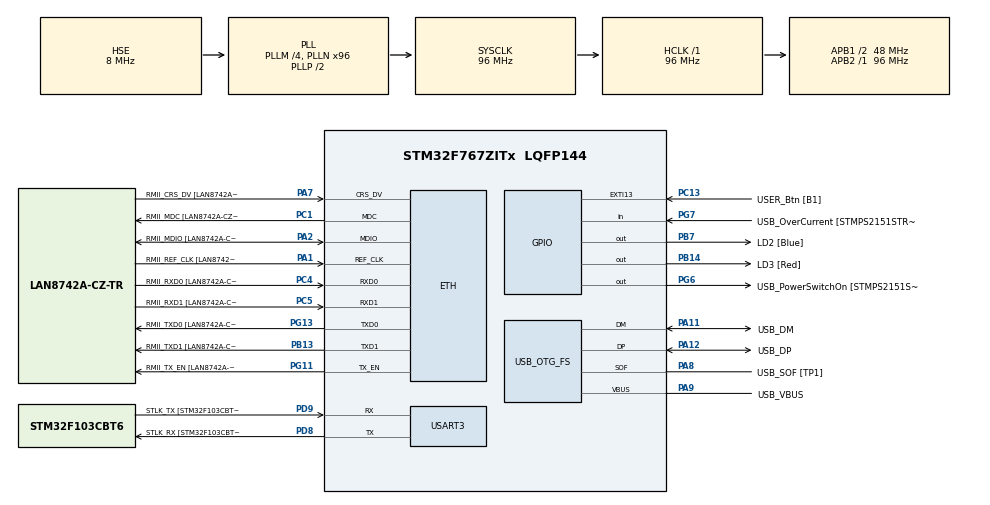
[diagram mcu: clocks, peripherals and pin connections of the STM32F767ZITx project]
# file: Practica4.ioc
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ETH.MediaInterface=ETH_MEDIA_INTERFACE_RMII
ETH.PHY_Name=LAN8742A_PHY_ADDRESS
ETH.PHY_Value=0
ETH.PhyAddress=0
Mcu.Family=STM32F7
Mcu.Name=STM32F767ZITx
Mcu.Package=LQFP144
NVIC.PriorityGroup=NVIC_PRIORITYGROUP_4
PA1.GPIO_Label=RMII_REF_CLK [LAN8742A-CZ-TR_REFCLK0]
PA1.Mode=RMII
PA1.Signal=ETH_REF_CLK
PA10.GPIO_Label=USB_ID
PA10.Signal=USB_OTG_FS_ID
PA11.GPIO_Label=USB_DM
PA11.Mode=Device_Only
PA11.Signal=USB_OTG_FS_DM
PA12.GPIO_Label=USB_DP
PA12.Mode=Device_Only
PA12.Signal=USB_OTG_FS_DP
PA13.GPIO_Label=TMS
PA13.Mode=Serial_Wire
PA13.Signal=SYS_JTMS-SWDIO
PA14.GPIO_Label=TCK
PA14.Mode=Serial_Wire
PA14.Signal=SYS_JTCK-SWCLK
PA2.GPIO_Label=RMII_MDIO [LAN8742A-CZ-TR_MDIO]
PA2.Mode=RMII
PA2.Signal=ETH_MDIO
PA7.GPIO_Label=RMII_CRS_DV [LAN8742A-CZ-TR_CRS_DV]
PA7.Mode=RMII
PA7.Signal=ETH_CRS_DV
PA8.GPIO_Label=USB_SOF [TP1]
PA8.Mode=Activate_SOF_FS
PA8.Signal=USB_OTG_FS_SOF
PA9.GPIO_Label=USB_VBUS
PA9.Mode=Activate_VBUS
PA9.Signal=USB_OTG_FS_VBUS
PB13.GPIO_Label=RMII_TXD1 [LAN8742A-CZ-TR_TXD1]
PB13.Mode=RMII
PB13.Signal=ETH_TXD1
PB14.GPIO_Label=LD3 [Red]
PB14.Signal=GPIO_Output
PB3.GPIO_Label=SWO
PB3.Signal=SYS_JTDO-SWO
PB7.GPIO_Label=LD2 [Blue]
PB7.Signal=GPIO_Output
PC1.GPIO_Label=RMII_MDC [LAN8742A-CZ-TR_MDC]
PC1.Mode=RMII
PC1.Signal=ETH_MDC
PC13.GPIO_Label=USER_Btn [B1]
PC13.Signal=GPXTI13
PC14/OSC32_IN.Mode=LSE-External-Oscillator
PC14/OSC32_IN.Signal=RCC_OSC32_IN
PC15/OSC32_OUT.Mode=LSE-External-Oscillator
PC15/OSC32_OUT.Signal=RCC_OSC32_OUT
PC4.GPIO_Label=RMII_RXD0 [LAN8742A-CZ-TR_RXD0]
PC4.Mode=RMII
PC4.Signal=ETH_RXD0
PC5.GPIO_Label=RMII_RXD1 [LAN8742A-CZ-TR_RXD1]
PC5.Mode=RMII
PC5.Signal=ETH_RXD1
PD8.GPIO_Label=STLK_RX [STM32F103CBT6_PA3]
PD8.Mode=Asynchronous
PD8.Signal=USART3_TX
PD9.GPIO_Label=STLK_TX [STM32F103CBT6_PA2]
PD9.Mode=Asynchronous
PD9.Signal=USART3_RX
PG11.GPIO_Label=RMII_TX_EN [LAN8742A-CZ-TR_TXEN]
PG11.Mode=RMII
PG11.Signal=ETH_TX_EN
PG13.GPIO_Label=RMII_TXD0 [LAN8742A-CZ-TR_TXD0]
PG13.Mode=RMII
PG13.Signal=ETH_TXD0
PG6.GPIO_Label=USB_PowerSwitchOn [STMPS2151STR_EN]
PG6.Signal=GPIO_Output
PG7.GPIO_Label=USB_OverCurrent [STMPS2151STR_FAULT]
PG7.Signal=GPIO_Input
PH0/OSC_IN.GPIO_Label=MCO [STM32F103CBT6_PA8]
PH0/OSC_IN.Mode=HSE-External-Clock-Source
PH0/OSC_IN.Signal=RCC_OSC_IN
PH1/OSC_OUT.Mode=HSE-External-Clock-Source
PH1/OSC_OUT.Signal=RCC_OSC_OUT
ProjectManager.HeapSize=0x200
ProjectManager.StackSize=0x400
ProjectManager.TargetToolchain=STM32CubeIDE
RCC.48MHZClocksFreq_Value=24000000
RCC.AHBFreq_Value=96000000
RCC.APB1CLKDivider=RCC_HCLK_DIV2
RCC.APB1Freq_Value=48000000
RCC.APB1TimFreq_Value=96000000
RCC.APB2Freq_Value=96000000
RCC.APB2TimFreq_Value=96000000
RCC.CortexFreq_Value=96000000
RCC.HCLKFreq_Value=96000000
RCC.HSE_VALUE=8000000
RCC.HSI_VALUE=16000000
RCC.PLLM=4
RCC.PLLMUL=RCC_PLL_MUL9
RCC.PLLN=96
RCC.PLLQ=4
RCC.PRESCALERUSB=RCC_USBCLKSOURCE_PLL_DIV1_5
RCC.SYSCLKFreq_VALUE=96000000
RCC.SYSCLKSource=RCC_SYSCLKSOURCE_PLLCLK
RCC.SYSCLKSourceVirtual=RCC_SYSCLKSOURCE_PLLCLK
RCC.USBFreq_Value=48000000
RCC.VCOOutputFreq_Value=192000000
USART3.VirtualMode-Asynchronous=VM_ASYNC
USB_OTG_FS.VirtualMode=Device_Only
board=NUCLEO-F767ZI

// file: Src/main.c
/* USER CODE BEGIN Header */
/**
  ******************************************************************************
  * @file           : main.c
  * @brief          : Main program body
  ******************************************************************************
  * @attention
  *
  * <h2><center>&copy; Copyright (c) 2019 STMicroelectronics.
  * All rights reserved.</center></h2>
  *
  * This software component is licensed by ST under BSD 3-Clause license,
  * the "License"; You may not use this file except in compliance with the
  * License. You may obtain a copy of the License at:
  *                        opensource.org/licenses/BSD-3-Clause
  *
  ******************************************************************************
  */
/* USER CODE END Header */

#include "main.h"
#include "pcb.h"

ETH_HandleTypeDef heth;

UART_HandleTypeDef huart3;

PCD_HandleTypeDef hpcd_USB_OTG_FS;

void SystemClock_Config(void);
static void MX_GPIO_Init(void);
static void MX_ETH_Init(void);
static void MX_USART3_UART_Init(void);
static void MX_USB_OTG_FS_PCD_Init(void);

/* USER CODE BEGIN 0 */
sem_t mutex;

/* USER CODE END 0 */

int main(void)
{

  /* MCU Configuration--------------------------------------------------------*/

  /* Reset of all peripherals, Initializes the Flash interface and the Systick. */
  HAL_Init();

  /* Configure the system clock */
  SystemClock_Config();

  /* Initialize all configured peripherals */
  MX_GPIO_Init();
  MX_ETH_Init();
  MX_USART3_UART_Init();
  MX_USB_OTG_FS_PCD_Init();
  SysTick_Config(SystemCoreClock * 0.1);

  /* Infinite loop */
  /* USER CODE BEGIN WHILE */
  int child;
  sem_init(&mutex, 1);
  int i;
   while (1) {
     /* USER CODE END WHILE */

     /* USER CODE BEGIN 3 */
 	child = fork();
 	if (child == 0) {
 		for (;;) {
 			LD2_GPIO_Port->BSRR = LD2_Pin;
 			LD3_GPIO_Port->BSRR = (uint32_t)LD3_Pin << 16;
 			sem_wait(&mutex);
 			i = 5;
 			sem_post(&mutex);
 		}
 	} else {
 		for (;;) {
 			LD2_GPIO_Port->BSRR = (uint32_t)LD2_Pin << 16;
 			LD3_GPIO_Port->BSRR = LD3_Pin;
 			sem_wait(&mutex);
 			i = 10;
 			sem_post(&mutex);
 		}
 	}
   }
  /* USER CODE END 3 */
}

void SystemClock_Config(void)
{
  RCC_OscInitTypeDef RCC_OscInitStruct = {0};
  RCC_ClkInitTypeDef RCC_ClkInitStruct = {0};
  RCC_PeriphCLKInitTypeDef PeriphClkInitStruct = {0};

  /** Configure LSE Drive Capability
  */
  HAL_PWR_EnableBkUpAccess();
  /** Configure the main internal regulator output voltage
  */
  __HAL_RCC_PWR_CLK_ENABLE();
  __HAL_PWR_VOLTAGESCALING_CONFIG(PWR_REGULATOR_VOLTAGE_SCALE3);
  /** Initializes the CPU, AHB and APB busses clocks
  */
  RCC_OscInitStruct.OscillatorType = RCC_OSCILLATORTYPE_HSE;
  RCC_OscInitStruct.HSEState = RCC_HSE_BYPASS;
  RCC_OscInitStruct.PLL.PLLState = RCC_PLL_ON;
  RCC_OscInitStruct.PLL.PLLSource = RCC_PLLSOURCE_HSE;
  RCC_OscInitStruct.PLL.PLLM = 4;
  RCC_OscInitStruct.PLL.PLLN = 96;
  RCC_OscInitStruct.PLL.PLLP = RCC_PLLP_DIV2;
  RCC_OscInitStruct.PLL.PLLQ = 4;
  if (HAL_RCC_OscConfig(&RCC_OscInitStruct) != HAL_OK)
  {
    Error_Handler();
  }
  /** Activate the Over-Drive mode
  */
  if (HAL_PWREx_EnableOverDrive() != HAL_OK)
  {
    Error_Handler();
  }
  /** Initializes the CPU, AHB and APB busses clocks
  */
  RCC_ClkInitStruct.ClockType = RCC_CLOCKTYPE_HCLK|RCC_CLOCKTYPE_SYSCLK
                              |RCC_CLOCKTYPE_PCLK1|RCC_CLOCKTYPE_PCLK2;
  RCC_ClkInitStruct.SYSCLKSource = RCC_SYSCLKSOURCE_PLLCLK;
  RCC_ClkInitStruct.AHBCLKDivider = RCC_SYSCLK_DIV1;
  RCC_ClkInitStruct.APB1CLKDivider = RCC_HCLK_DIV2;
  RCC_ClkInitStruct.APB2CLKDivider = RCC_HCLK_DIV1;

  if (HAL_RCC_ClockConfig(&RCC_ClkInitStruct, FLASH_LATENCY_3) != HAL_OK)
  {
    Error_Handler();
  }
  PeriphClkInitStruct.PeriphClockSelection = RCC_PERIPHCLK_USART3|RCC_PERIPHCLK_CLK48;
  PeriphClkInitStruct.Usart3ClockSelection = RCC_USART3CLKSOURCE_PCLK1;
  PeriphClkInitStruct.Clk48ClockSelection = RCC_CLK48SOURCE_PLL;
  if (HAL_RCCEx_PeriphCLKConfig(&PeriphClkInitStruct) != HAL_OK)
  {
    Error_Handler();
  }
}

static void MX_ETH_Init(void)
{

   uint8_t MACAddr[6] ;

  heth.Instance = ETH;
  heth.Init.AutoNegotiation = ETH_AUTONEGOTIATION_ENABLE;
  heth.Init.PhyAddress = LAN8742A_PHY_ADDRESS;
  MACAddr[0] = 0x00;
  MACAddr[1] = 0x80;
  MACAddr[2] = 0xE1;
  MACAddr[3] = 0x00;
  MACAddr[4] = 0x00;
  MACAddr[5] = 0x00;
  heth.Init.MACAddr = &MACAddr[0];
  heth.Init.RxMode = ETH_RXPOLLING_MODE;
  heth.Init.ChecksumMode = ETH_CHECKSUM_BY_HARDWARE;
  heth.Init.MediaInterface = ETH_MEDIA_INTERFACE_RMII;

  if (HAL_ETH_Init(&heth) != HAL_OK)
  {
    Error_Handler();
  }

}

static void MX_USART3_UART_Init(void)
{

  huart3.Instance = USART3;
  huart3.Init.BaudRate = 115200;
  huart3.Init.WordLength = UART_WORDLENGTH_8B;
  huart3.Init.StopBits = UART_STOPBITS_1;
  huart3.Init.Parity = UART_PARITY_NONE;
  huart3.Init.Mode = UART_MODE_TX_RX;
  huart3.Init.HwFlowCtl = UART_HWCONTROL_NONE;
  huart3.Init.OverSampling = UART_OVERSAMPLING_16;
  huart3.Init.OneBitSampling = UART_ONE_BIT_SAMPLE_DISABLE;
  huart3.AdvancedInit.AdvFeatureInit = UART_ADVFEATURE_NO_INIT;
  if (HAL_UART_Init(&huart3) != HAL_OK)
  {
    Error_Handler();
  }

}

static void MX_USB_OTG_FS_PCD_Init(void)
{

  hpcd_USB_OTG_FS.Instance = USB_OTG_FS;
  hpcd_USB_OTG_FS.Init.dev_endpoints = 6;
  hpcd_USB_OTG_FS.Init.speed = PCD_SPEED_FULL;
  hpcd_USB_OTG_FS.Init.dma_enable = DISABLE;
  hpcd_USB_OTG_FS.Init.phy_itface = PCD_PHY_EMBEDDED;
  hpcd_USB_OTG_FS.Init.Sof_enable = ENABLE;
  hpcd_USB_OTG_FS.Init.low_power_enable = DISABLE;
  hpcd_USB_OTG_FS.Init.lpm_enable = DISABLE;
  hpcd_USB_OTG_FS.Init.vbus_sensing_enable = ENABLE;
  hpcd_USB_OTG_FS.Init.use_dedicated_ep1 = DISABLE;
  if (HAL_PCD_Init(&hpcd_USB_OTG_FS) != HAL_OK)
  {
    Error_Handler();
  }

}

static void MX_GPIO_Init(void)
{
  GPIO_InitTypeDef GPIO_InitStruct = {0};

  /* GPIO Ports Clock Enable */
  __HAL_RCC_GPIOC_CLK_ENABLE();
  __HAL_RCC_GPIOH_CLK_ENABLE();
  __HAL_RCC_GPIOA_CLK_ENABLE();
  __HAL_RCC_GPIOB_CLK_ENABLE();
  __HAL_RCC_GPIOD_CLK_ENABLE();
  __HAL_RCC_GPIOG_CLK_ENABLE();

  /*Configure GPIO pin Output Level */
  HAL_GPIO_WritePin(GPIOB, LD3_Pin|LD2_Pin, GPIO_PIN_RESET);

  /*Configure GPIO pin Output Level */
  HAL_GPIO_WritePin(USB_PowerSwitchOn_GPIO_Port, USB_PowerSwitchOn_Pin, GPIO_PIN_RESET);

  /*Configure GPIO pin : USER_Btn_Pin */
  GPIO_InitStruct.Pin = USER_Btn_Pin;
  GPIO_InitStruct.Mode = GPIO_MODE_IT_RISING;
  GPIO_InitStruct.Pull = GPIO_NOPULL;
  HAL_GPIO_Init(USER_Btn_GPIO_Port, &GPIO_InitStruct);

  /*Configure GPIO pins : LD3_Pin LD2_Pin */
  GPIO_InitStruct.Pin = LD3_Pin|LD2_Pin;
  GPIO_InitStruct.Mode = GPIO_MODE_OUTPUT_PP;
  GPIO_InitStruct.Pull = GPIO_NOPULL;
  GPIO_InitStruct.Speed = GPIO_SPEED_FREQ_LOW;
  HAL_GPIO_Init(GPIOB, &GPIO_InitStruct);

  /*Configure GPIO pin : USB_PowerSwitchOn_Pin */
  GPIO_InitStruct.Pin = USB_PowerSwitchOn_Pin;
  GPIO_InitStruct.Mode = GPIO_MODE_OUTPUT_PP;
  GPIO_InitStruct.Pull = GPIO_NOPULL;
  GPIO_InitStruct.Speed = GPIO_SPEED_FREQ_LOW;
  HAL_GPIO_Init(USB_PowerSwitchOn_GPIO_Port, &GPIO_InitStruct);

  /*Configure GPIO pin : USB_OverCurrent_Pin */
  GPIO_InitStruct.Pin = USB_OverCurrent_Pin;
  GPIO_InitStruct.Mode = GPIO_MODE_INPUT;
  GPIO_InitStruct.Pull = GPIO_NOPULL;
  HAL_GPIO_Init(USB_OverCurrent_GPIO_Port, &GPIO_InitStruct);

}

void Error_Handler(void)
{
}

/************************ (C) COPYRIGHT STMicroelectronics *****END OF FILE****/
